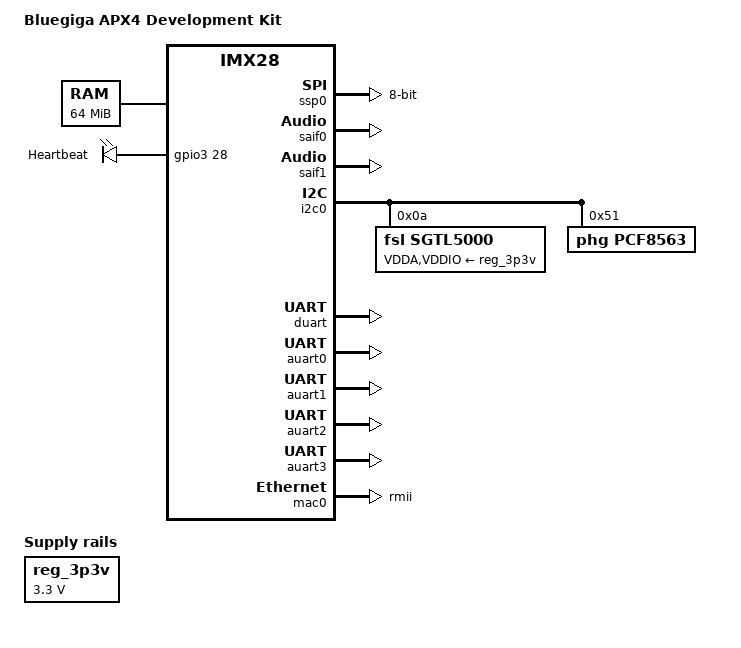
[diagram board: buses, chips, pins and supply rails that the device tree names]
/dts-v1/;
/include/ "imx28.dtsi"

/ {
	model = "Bluegiga APX4 Development Kit";
	compatible = "bluegiga,apx4devkit", "fsl,imx28";

	memory {
		reg = <0x40000000 0x04000000>;
	};

	apb@80000000 {
		apbh@80000000 {
			ssp0: ssp@80010000 {
				compatible = "fsl,imx28-mmc";
				pinctrl-names = "default";
				pinctrl-0 = <&mmc0_8bit_pins_a
					     &mmc0_cd_cfg
					     &mmc0_sck_cfg>;
				bus-width = <8>;
				status = "okay";
			};

			pinctrl@80018000 {
				pinctrl-names = "default";
				pinctrl-0 = <&hog_pins_a>;

				hog_pins_a: hog-gpios@0 {
					reg = <0>;
					fsl,pinmux-ids = <
						0x31c3 /* MX28_PAD_PWM3__GPIO_3_28 */
					>;
					fsl,drive-strength = <0>;
					fsl,voltage = <1>;
					fsl,pull-up = <0>;
				};
			};
		};

		apbx@80040000 {
			saif0: saif@80042000 {
				pinctrl-names = "default";
				pinctrl-0 = <&saif0_pins_a>;
				status = "okay";
			};

			saif1: saif@80046000 {
				pinctrl-names = "default";
				pinctrl-0 = <&saif1_pins_a>;
				fsl,saif-master = <&saif0>;
				status = "okay";
			};

			i2c0: i2c@80058000 {
				pinctrl-names = "default";
				pinctrl-0 = <&i2c0_pins_a>;
				status = "okay";

				sgtl5000: codec@0a {
					compatible = "fsl,sgtl5000";
					reg = <0x0a>;
					VDDA-supply = <&reg_3p3v>;
					VDDIO-supply = <&reg_3p3v>;

				};

				pcf8563: rtc@51 {
					compatible = "phg,pcf8563";
					reg = <0x51>;
				};
			};

			duart: serial@80074000 {
				pinctrl-names = "default";
				pinctrl-0 = <&duart_pins_a>;
				status = "okay";
			};

			auart0: serial@8006a000 {
				pinctrl-names = "default";
				pinctrl-0 = <&auart0_pins_a>;
				status = "okay";
			};

			auart1: serial@8006c000 {
				pinctrl-names = "default";
				pinctrl-0 = <&auart1_2pins_a>;
				status = "okay";
			};

			auart2: serial@8006e000 {
				pinctrl-names = "default";
				pinctrl-0 = <&auart2_2pins_a>;
				status = "okay";
			};

			auart3: serial@80070000 {
				pinctrl-names = "default";
				pinctrl-0 = <&auart3_2pins_a>;
				status = "okay";
			};
		};
	};

	ahb@80080000 {
		mac0: ethernet@800f0000 {
			phy-mode = "rmii";
			pinctrl-names = "default";
			pinctrl-0 = <&mac0_pins_a>;
			status = "okay";
		};
	};

	regulators {
		compatible = "simple-bus";

		reg_3p3v: 3p3v {
			compatible = "regulator-fixed";
			regulator-name = "3P3V";
			regulator-min-microvolt = <3300000>;
			regulator-max-microvolt = <3300000>;
			regulator-always-on;
		};
	};

	sound {
		compatible = "bluegiga,apx4devkit-sgtl5000",
			     "fsl,mxs-audio-sgtl5000";
		model = "apx4devkit-sgtl5000";
		saif-controllers = <&saif0 &saif1>;
		audio-codec = <&sgtl5000>;
	};

	leds {
		compatible = "gpio-leds";

		user {
			label = "Heartbeat";
			gpios = <&gpio3 28 0>;
			linux,default-trigger = "heartbeat";
		};
	};
};
